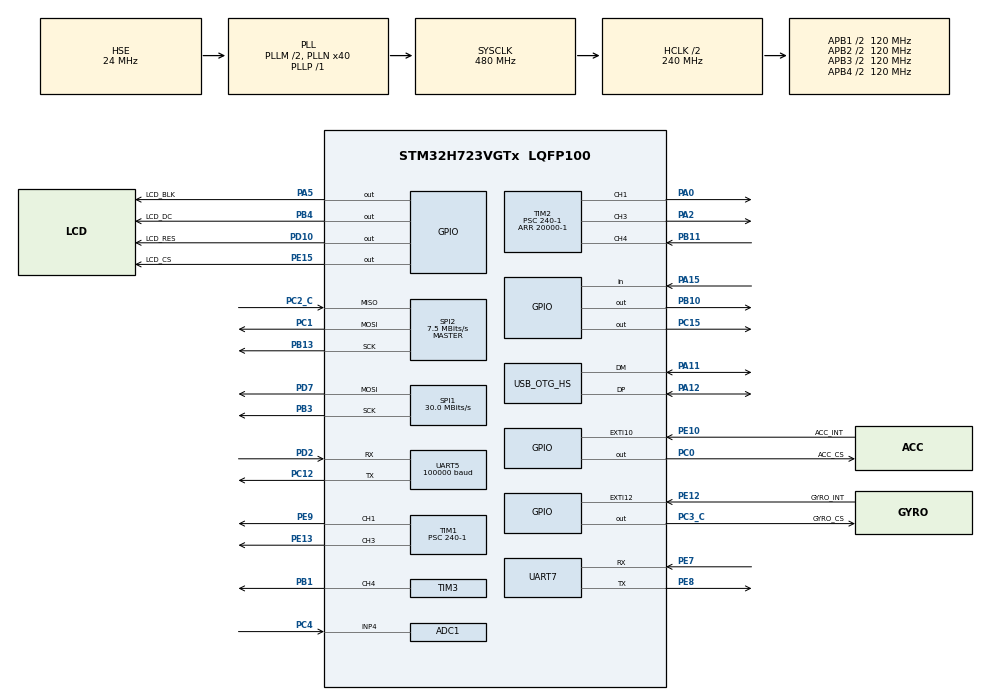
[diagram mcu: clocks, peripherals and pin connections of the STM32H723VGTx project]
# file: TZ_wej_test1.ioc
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ADC1.Channel-0\#ChannelRegularConversion=ADC_CHANNEL_4
ADC1.Channel-3\#ChannelRegularConversion=ADC_CHANNEL_4
ADC1.ClockPrescaler=ADC_CLOCK_ASYNC_DIV64
ADC1.ContinuousConvMode=ENABLE
ADC1.NbrOfConversion=2
ADC1.NbrOfConversionFlag=1
ADC1.OffsetNumber-0\#ChannelRegularConversion=ADC_OFFSET_NONE
ADC1.OffsetNumber-3\#ChannelRegularConversion=ADC_OFFSET_NONE
ADC1.OffsetSignedSaturation-0\#ChannelRegularConversion=DISABLE
ADC1.OffsetSignedSaturation-3\#ChannelRegularConversion=DISABLE
ADC1.Rank-0\#ChannelRegularConversion=1
ADC1.Rank-3\#ChannelRegularConversion=2
ADC1.SamplingTime-0\#ChannelRegularConversion=ADC_SAMPLETIME_32CYCLES_5
ADC1.SamplingTime-3\#ChannelRegularConversion=ADC_SAMPLETIME_1CYCLE_5
ADC1.master=1
CORTEX_M7.default_mode_Activation=1
Dma.Request0=SPI2_RX
Dma.Request1=SPI2_TX
Dma.Request2=UART5_RX
Dma.Request3=UART7_RX
Dma.SPI2_RX.0.Direction=DMA_PERIPH_TO_MEMORY
Dma.SPI2_RX.0.EventEnable=DISABLE
Dma.SPI2_RX.0.FIFOMode=DMA_FIFOMODE_DISABLE
Dma.SPI2_RX.0.Instance=DMA1_Stream0
Dma.SPI2_RX.0.MemDataAlignment=DMA_MDATAALIGN_BYTE
Dma.SPI2_RX.0.MemInc=DMA_MINC_ENABLE
Dma.SPI2_RX.0.Mode=DMA_NORMAL
Dma.SPI2_RX.0.PeriphDataAlignment=DMA_PDATAALIGN_BYTE
Dma.SPI2_RX.0.PeriphInc=DMA_PINC_DISABLE
Dma.SPI2_RX.0.Polarity=HAL_DMAMUX_REQ_GEN_RISING
Dma.SPI2_RX.0.Priority=DMA_PRIORITY_VERY_HIGH
Dma.SPI2_RX.0.RequestNumber=1
Dma.SPI2_RX.0.SignalID=NONE
Dma.SPI2_RX.0.SyncEnable=DISABLE
Dma.SPI2_RX.0.SyncPolarity=HAL_DMAMUX_SYNC_NO_EVENT
Dma.SPI2_RX.0.SyncRequestNumber=1
Dma.SPI2_RX.0.SyncSignalID=NONE
Dma.SPI2_TX.1.Direction=DMA_MEMORY_TO_PERIPH
Dma.SPI2_TX.1.EventEnable=DISABLE
Dma.SPI2_TX.1.FIFOMode=DMA_FIFOMODE_DISABLE
Dma.SPI2_TX.1.Instance=DMA1_Stream1
Dma.SPI2_TX.1.MemDataAlignment=DMA_MDATAALIGN_BYTE
Dma.SPI2_TX.1.MemInc=DMA_MINC_ENABLE
Dma.SPI2_TX.1.Mode=DMA_NORMAL
Dma.SPI2_TX.1.PeriphDataAlignment=DMA_PDATAALIGN_BYTE
Dma.SPI2_TX.1.PeriphInc=DMA_PINC_DISABLE
Dma.SPI2_TX.1.Polarity=HAL_DMAMUX_REQ_GEN_RISING
Dma.SPI2_TX.1.Priority=DMA_PRIORITY_HIGH
Dma.SPI2_TX.1.RequestNumber=1
Dma.SPI2_TX.1.SignalID=NONE
Dma.SPI2_TX.1.SyncEnable=DISABLE
Dma.SPI2_TX.1.SyncPolarity=HAL_DMAMUX_SYNC_NO_EVENT
Dma.SPI2_TX.1.SyncRequestNumber=1
Dma.SPI2_TX.1.SyncSignalID=NONE
Dma.UART5_RX.2.Direction=DMA_PERIPH_TO_MEMORY
Dma.UART5_RX.2.EventEnable=DISABLE
Dma.UART5_RX.2.FIFOMode=DMA_FIFOMODE_DISABLE
Dma.UART5_RX.2.Instance=DMA1_Stream2
Dma.UART5_RX.2.MemDataAlignment=DMA_MDATAALIGN_BYTE
Dma.UART5_RX.2.MemInc=DMA_MINC_ENABLE
Dma.UART5_RX.2.Mode=DMA_CIRCULAR
Dma.UART5_RX.2.PeriphDataAlignment=DMA_PDATAALIGN_BYTE
Dma.UART5_RX.2.PeriphInc=DMA_PINC_DISABLE
Dma.UART5_RX.2.Polarity=HAL_DMAMUX_REQ_GEN_RISING
Dma.UART5_RX.2.Priority=DMA_PRIORITY_LOW
Dma.UART5_RX.2.RequestNumber=1
Dma.UART5_RX.2.SignalID=NONE
Dma.UART5_RX.2.SyncEnable=DISABLE
Dma.UART5_RX.2.SyncPolarity=HAL_DMAMUX_SYNC_NO_EVENT
Dma.UART5_RX.2.SyncRequestNumber=1
Dma.UART5_RX.2.SyncSignalID=NONE
Dma.UART7_RX.3.Direction=DMA_PERIPH_TO_MEMORY
Dma.UART7_RX.3.EventEnable=DISABLE
Dma.UART7_RX.3.FIFOMode=DMA_FIFOMODE_DISABLE
Dma.UART7_RX.3.Instance=DMA1_Stream3
Dma.UART7_RX.3.MemDataAlignment=DMA_MDATAALIGN_BYTE
Dma.UART7_RX.3.MemInc=DMA_MINC_ENABLE
Dma.UART7_RX.3.Mode=DMA_NORMAL
Dma.UART7_RX.3.PeriphDataAlignment=DMA_PDATAALIGN_BYTE
Dma.UART7_RX.3.PeriphInc=DMA_PINC_DISABLE
Dma.UART7_RX.3.Polarity=HAL_DMAMUX_REQ_GEN_RISING
Dma.UART7_RX.3.Priority=DMA_PRIORITY_LOW
Dma.UART7_RX.3.RequestNumber=1
Dma.UART7_RX.3.SignalID=NONE
Dma.UART7_RX.3.SyncEnable=DISABLE
Dma.UART7_RX.3.SyncPolarity=HAL_DMAMUX_SYNC_NO_EVENT
Dma.UART7_RX.3.SyncRequestNumber=1
Dma.UART7_RX.3.SyncSignalID=NONE
Mcu.Family=STM32H7
Mcu.Name=STM32H723VGTx
Mcu.Package=LQFP100
NVIC.DMA1_Stream0_IRQn=true\:1\:0\:true\:false\:true\:false\:true\:true
NVIC.DMA1_Stream1_IRQn=true\:2\:0\:true\:false\:true\:false\:true\:true
NVIC.DMA1_Stream2_IRQn=true\:0\:0\:false\:false\:true\:false\:true\:true
NVIC.DMA1_Stream3_IRQn=true\:0\:0\:false\:false\:true\:false\:true\:true
NVIC.OTG_HS_IRQn=true\:0\:0\:false\:false\:true\:true\:true\:true
NVIC.PriorityGroup=NVIC_PRIORITYGROUP_4
NVIC.SPI2_IRQn=true\:5\:0\:true\:false\:true\:false\:true\:true
NVIC.TIM1_BRK_IRQn=true\:0\:0\:false\:false\:true\:true\:true\:true
NVIC.TIM1_CC_IRQn=true\:0\:0\:false\:false\:true\:true\:true\:true
NVIC.TIM1_TRG_COM_IRQn=true\:0\:0\:false\:false\:true\:true\:true\:true
NVIC.TIM1_UP_IRQn=true\:0\:0\:false\:false\:true\:true\:true\:true
NVIC.TIM2_IRQn=true\:0\:0\:false\:false\:true\:true\:true\:true
NVIC.TIM4_IRQn=true\:0\:0\:false\:false\:true\:true\:true\:true
NVIC.UART5_IRQn=true\:0\:0\:false\:false\:true\:true\:true\:true
NVIC.UART7_IRQn=true\:0\:0\:false\:false\:true\:true\:true\:true
PA0.Signal=S_TIM2_CH1_ETR
PA11.Mode=Device_Only_FS
PA11.Signal=USB_OTG_HS_DM
PA12.Mode=Device_Only_FS
PA12.Signal=USB_OTG_HS_DP
PA15(JTDI).GPIO_PuPd=GPIO_PULLUP
PA15(JTDI).Signal=GPIO_Input
PA2.Signal=S_TIM2_CH3
PA5.GPIO_Label=LCD_BLK
PA5.GPIO_Speed=GPIO_SPEED_FREQ_VERY_HIGH
PA5.Signal=GPIO_Output
PB1.Signal=S_TIM3_CH4
PB10.Signal=GPIO_Output
PB11.Signal=S_TIM2_CH4
PB13.GPIO_Speed=GPIO_SPEED_FREQ_VERY_HIGH
PB13.Mode=Full_Duplex_Master
PB13.Signal=SPI2_SCK
PB3(JTDO/TRACESWO).Mode=TX_Only_Simplex_Unidirect_Master
PB3(JTDO/TRACESWO).Signal=SPI1_SCK
PB4(NJTRST).GPIO_Label=LCD_DC
PB4(NJTRST).GPIO_Speed=GPIO_SPEED_FREQ_VERY_HIGH
PB4(NJTRST).Signal=GPIO_Output
PC0.GPIO_Label=ACC_CS
PC0.GPIO_Speed=GPIO_SPEED_FREQ_VERY_HIGH
PC0.Signal=GPIO_Output
PC1.GPIO_Speed=GPIO_SPEED_FREQ_VERY_HIGH
PC1.Mode=Full_Duplex_Master
PC1.Signal=SPI2_MOSI
PC12.Mode=Asynchronous
PC12.Signal=UART5_TX
PC15-OSC32_OUT.PinState=GPIO_PIN_SET
PC15-OSC32_OUT.Signal=GPIO_Output
PC2_C.GPIO_Speed=GPIO_SPEED_FREQ_VERY_HIGH
PC2_C.Mode=Full_Duplex_Master
PC2_C.Signal=SPI2_MISO
PC3_C.GPIO_Label=GYRO_CS
PC3_C.GPIO_Speed=GPIO_SPEED_FREQ_VERY_HIGH
PC3_C.Signal=GPIO_Output
PC4.Signal=ADCx_INP4
PD10.GPIO_Label=LCD_RES
PD10.GPIO_Speed=GPIO_SPEED_FREQ_VERY_HIGH
PD10.Signal=GPIO_Output
PD2.Mode=Asynchronous
PD2.Signal=UART5_RX
PD7.Mode=TX_Only_Simplex_Unidirect_Master
PD7.Signal=SPI1_MOSI
PE10.GPIO_Label=ACC_INT
PE10.Signal=GPXTI10
PE12.GPIO_Label=GYRO_INT
PE12.Signal=GPXTI12
PE13.Signal=S_TIM1_CH3
PE15.GPIO_Label=LCD_CS
PE15.GPIO_Speed=GPIO_SPEED_FREQ_VERY_HIGH
PE15.Signal=GPIO_Output
PE7.Mode=Asynchronous
PE7.Signal=UART7_RX
PE8.Mode=Asynchronous
PE8.Signal=UART7_TX
PE9.Signal=S_TIM1_CH1
PH0-OSC_IN.Mode=HSE-External-Oscillator
PH0-OSC_IN.Signal=RCC_OSC_IN
PH1-OSC_OUT.Mode=HSE-External-Oscillator
PH1-OSC_OUT.Signal=RCC_OSC_OUT
ProjectManager.HeapSize=0x200
ProjectManager.StackSize=0x400
ProjectManager.TargetToolchain=CMake
RCC.ADCFreq_Value=96000000
RCC.APB1Freq_Value=120000000
RCC.APB2Freq_Value=120000000
RCC.APB3Freq_Value=120000000
RCC.APB4Freq_Value=120000000
RCC.CortexFreq_Value=480000000
RCC.D1PPRE=RCC_APB3_DIV2
RCC.D2PPRE1=RCC_APB1_DIV2
RCC.D2PPRE2=RCC_APB2_DIV2
RCC.D3PPRE=RCC_APB4_DIV2
RCC.DIVM1=2
RCC.DIVM2=2
RCC.DIVN1=40
RCC.DIVN2=16
RCC.DIVP1=1
RCC.HCLKFreq_Value=240000000
RCC.HPRE=RCC_HCLK_DIV2
RCC.HSE_VALUE=24000000
RCC.PLLFRACN=0
RCC.PLLSourceVirtual=RCC_PLLSOURCE_HSE
RCC.SYSCLKFreq_VALUE=480000000
RCC.SYSCLKSource=RCC_SYSCLKSOURCE_PLLCLK
RCC.USBCLockSelection=RCC_USBCLKSOURCE_HSI48
RCC.USBFreq_Value=48000000
SH.ADCx_INP4.0=ADC1_INP4,IN4-Single-Ended
SH.S_TIM1_CH1.0=TIM1_CH1,PWM Generation1 CH1
SH.S_TIM1_CH3.0=TIM1_CH3,PWM Generation3 CH3
SH.S_TIM2_CH1_ETR.0=TIM2_CH1,PWM Generation1 CH1
SH.S_TIM2_CH3.0=TIM2_CH3,PWM Generation3 CH3
SH.S_TIM2_CH4.0=TIM2_CH4,Input_Capture4_from_TI4
SH.S_TIM3_CH4.0=TIM3_CH4,PWM Generation4 CH4
SPI1.BaudRatePrescaler=SPI_BAUDRATEPRESCALER_8
SPI1.CLKPolarity=SPI_POLARITY_HIGH
SPI1.CalculateBaudRate=30.0 MBits/s
SPI1.DataSize=SPI_DATASIZE_8BIT
SPI1.Direction=SPI_DIRECTION_2LINES_TXONLY
SPI1.Mode=SPI_MODE_MASTER
SPI1.VirtualType=VM_MASTER
SPI2.BaudRatePrescaler=SPI_BAUDRATEPRESCALER_32
SPI2.CLKPhase=SPI_PHASE_2EDGE
SPI2.CLKPolarity=SPI_POLARITY_HIGH
SPI2.CalculateBaudRate=7.5 MBits/s
SPI2.DataSize=SPI_DATASIZE_8BIT
SPI2.Direction=SPI_DIRECTION_2LINES
SPI2.Mode=SPI_MODE_MASTER
SPI2.VirtualType=VM_MASTER
TIM1.Channel-PWM\ Generation1\ CH1=TIM_CHANNEL_1
TIM1.Channel-PWM\ Generation3\ CH3=TIM_CHANNEL_3
TIM1.Period=20000-1
TIM1.Prescaler=240-1
TIM1.Pulse-PWM\ Generation1\ CH1=1500
TIM1.Pulse-PWM\ Generation3\ CH3=1500
TIM2.Channel-Input_Capture4_from_TI4=TIM_CHANNEL_4
TIM2.Channel-PWM\ Generation1\ CH1=TIM_CHANNEL_1
TIM2.Channel-PWM\ Generation3\ CH3=TIM_CHANNEL_3
TIM2.Period=20000-1
TIM2.Prescaler=240-1
TIM2.Pulse-PWM\ Generation1\ CH1=1000
TIM2.Pulse-PWM\ Generation3\ CH3=1000
TIM3.Channel-PWM\ Generation4\ CH4=TIM_CHANNEL_4
TIM3.Period=10000-1
TIM3.Prescaler=24-1
TIM4.Period=2000-1
TIM4.Prescaler=240-1
UART5.BaudRate=100000
UART5.Mode=MODE_RX
UART5.Parity=PARITY_EVEN
UART5.StopBits=UART_STOPBITS_2
UART5.WordLength=WORDLENGTH_9B
USB_DEVICE.CLASS_NAME_HS=CDC
USB_DEVICE.VirtualMode=Cdc
USB_DEVICE.VirtualModeHS=Cdc_HS
USB_OTG_HS.VirtualMode-Device_Only_FS=Device_Only_FS
VP_MEMORYMAP_VS_MEMORYMAP.Mode=CurAppReg
VP_TIM2_VS_ClockSourceINT.Mode=Internal
VP_TIM4_VS_ClockSourceINT.Mode=Internal
VP_USB_DEVICE_VS_USB_DEVICE_CDC_HS.Mode=CDC_HS
board=custom

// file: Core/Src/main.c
/* USER CODE BEGIN Header */
/**
  ******************************************************************************
  * @file           : main.c
  * @brief          : Main program body
  ******************************************************************************
  * @attention
  *
  * Copyright (c) 2026 STMicroelectronics.
  * All rights reserved.
  *
  * This software is licensed under terms that can be found in the LICENSE file
  * in the root directory of this software component.
  * If no LICENSE file comes with this software, it is provided AS-IS.
  *
  ******************************************************************************
  */
/* USER CODE END Header */
#include "main.h"
#include "adc.h"
#include "dma.h"
#include "memorymap.h"
#include "spi.h"
#include "tim.h"
#include "usart.h"
#include "usb_device.h"
#include "gpio.h"

/* USER CODE BEGIN Includes */
#include "attitude.h"
#include "imu_heat.h"
#include "lcd.h"
#include "tvc_pid.h"
#include "altitude_hold.h"
#include "ultrasonic.h"
#include "usb_printf.h"
#include "vbat_adc.h"
#include "ano_protocol.h"
#include "rm3100.h"
#include <stdio.h>
/* USER CODE END Includes */

/* USER CODE BEGIN PD */
#define DISPLAY_REFRESH_PERIOD_MS   50U   /* LCD 屏幕刷新周期：50ms = 20Hz */
#define STATUS_PRINT_PERIOD_MS     10U   /* ANO 协议发送周期：10ms = 100Hz */
#define DEBUG_PRINT_PERIOD_MS     200U   /* Yaw 调试打印周期：200ms = 5Hz */
#define YAW_DEBUG_TEXT_ONLY         0U    /* 1=只输出 Yaw 文本调试，暂停 ANO 二进制遥测 */
#define ANO_BINARY_TELEMETRY_ENABLED (!YAW_DEBUG_TEXT_ONLY)
/* USER CODE END PD */

void SystemClock_Config(void);
static void MPU_Config(void);
/* USER CODE BEGIN PFP */
static void InitApplicationModules(void);
static void RefreshRuntimeDisplay(void);
static void PrintRuntimeStatus(void);
/* USER CODE END PFP */

/* USER CODE BEGIN 0 */
#include "esc_pwm.h"

#define SBUS_FRAME_SIZE 25

// H7芯片：DMA无法访问DTCMRAM，并且必须做32字节缓存行对齐
#if defined ( __ICCARM__ )
#pragma location=".dma_buffer"
#else
__attribute__((section(".dma_buffer")))
#endif
ALIGN_32BYTES(uint8_t sbus_rx_buf[64]);

__attribute__((section(".dma_buffer")))
ALIGN_32BYTES(uint8_t rm3100_rx_buf[256]);

uint16_t rc_channels[16];
uint8_t sbus_connected = 0; // 0=未连接或断开, 1=连接正常
uint16_t last_rx_size = 0;  // 用于调试接收到的字节数
volatile uint8_t is_crashed = 0;     // 姿态异常坠机保护状态（ISR读取，需volatile）
volatile uint8_t is_armed = 0;       // 系统解锁状态（ISR读取，需volatile）
uint32_t button_press_ms = 0; // 按键按下时间戳

uint32_t g_esc_arm_start_ms = 0; // 记录电调上电启动时间

void SBUS_Parse(uint8_t *buf, uint16_t *channels)
{
    if (buf[0] == 0x0F && buf[24] == 0x00)
    {
        channels[0]  = ((buf[1]       | buf[2] << 8)                   & 0x07FF);
        channels[1]  = ((buf[2] >> 3  | buf[3] << 5)                   & 0x07FF);
        channels[2]  = ((buf[3] >> 6  | buf[4] << 2  | buf[5] << 10)  & 0x07FF);
        channels[3]  = ((buf[5] >> 1  | buf[6] << 7)                   & 0x07FF);
        channels[4]  = ((buf[6] >> 4  | buf[7] << 4)                   & 0x07FF);
        channels[5]  = ((buf[7] >> 7  | buf[8] << 1  | buf[9] << 9)   & 0x07FF);
        channels[6]  = ((buf[9] >> 2  | buf[10] << 6)                  & 0x07FF);
        channels[7]  = ((buf[10] >> 5 | buf[11] << 3)                  & 0x07FF);
        channels[8]  = ((buf[12]      | buf[13] << 8)                  & 0x07FF);
        channels[9]  = ((buf[13] >> 3 | buf[14] << 5)                  & 0x07FF);
        channels[10] = ((buf[14] >> 6 | buf[15] << 2 | buf[16] << 10) & 0x07FF);
        channels[11] = ((buf[16] >> 1 | buf[17] << 7)                  & 0x07FF);
        channels[12] = ((buf[17] >> 4 | buf[18] << 4)                  & 0x07FF);
        channels[13] = ((buf[18] >> 7 | buf[19] << 1 | buf[20] << 9)  & 0x07FF);
        channels[14] = ((buf[20] >> 2 | buf[21] << 6)                  & 0x07FF);
        channels[15] = ((buf[21] >> 5 | buf[22] << 3)                  & 0x07FF);

        // 检查标志位 (buf[23]) 是否发生失控保护 (Failsafe) 或者是掉线 (Frame lost)
        if ((buf[23] & 0x08) || (buf[23] & 0x04)) {
            sbus_connected = 0; // 失控保护触发或者侦丢失
        } else {
            sbus_connected = 1; // 正常
        }
    }
}

void HAL_UARTEx_RxEventCallback(UART_HandleTypeDef *huart, uint16_t Size)
{
    if (huart->Instance == UART5)
    {
        // 关键：在读DMA内存前，先让CPU把Cache里的相关部分给无效化，否则读出来的全是老数据
        SCB_InvalidateDCache_by_Addr((uint32_t *)sbus_rx_buf, sizeof(sbus_rx_buf));

        last_rx_size = Size; // 记录最近一次接到的包长度
        if (Size >= SBUS_FRAME_SIZE)
        {
            // 简单查找帧头帧尾
            for (int i = 0; i <= Size - SBUS_FRAME_SIZE; i++)
            {
                if (sbus_rx_buf[i] == 0x0F && sbus_rx_buf[i + 24] == 0x00)
                {
                    SBUS_Parse(&sbus_rx_buf[i], rc_channels);
                    break;
                }
            }
        }
        // 重新开启空闲中断DMA接收
        HAL_UARTEx_ReceiveToIdle_DMA(&huart5, sbus_rx_buf, sizeof(sbus_rx_buf));
    }
    else if (huart->Instance == UART7)
    {
        /* H7 + DMA: 先无效化 Cache，避免 RM3100 解析到旧的 UART7 DMA 数据 */
        SCB_InvalidateDCache_by_Addr((uint32_t *)rm3100_rx_buf, sizeof(rm3100_rx_buf));
        RM3100_ProcessBuffer(rm3100_rx_buf, Size);
        HAL_UARTEx_ReceiveToIdle_DMA(&huart7, rm3100_rx_buf, sizeof(rm3100_rx_buf));
    }
}

// 添加串口错误回调函数（非常重要：防止上电瞬间接收机的杂波导致串口溢出死锁）
void HAL_UART_ErrorCallback(UART_HandleTypeDef *huart)
{
    if (huart->Instance == UART5)
    {
        HAL_UARTEx_ReceiveToIdle_DMA(&huart5, sbus_rx_buf, sizeof(sbus_rx_buf));
    }
    else if (huart->Instance == UART7)
    {
        HAL_UARTEx_ReceiveToIdle_DMA(&huart7, rm3100_rx_buf, sizeof(rm3100_rx_buf));
    }
}
/* USER CODE END 0 */

int main(void)
{

  /* MPU Configuration--------------------------------------------------------*/
  MPU_Config();

  /* MCU Configuration--------------------------------------------------------*/

  /* Reset of all peripherals, Initializes the Flash interface and the Systick. */
  HAL_Init();

  /* Configure the system clock */
  SystemClock_Config();

  /* Initialize all configured peripherals */
  MX_GPIO_Init();
  MX_DMA_Init();
  MX_USB_DEVICE_Init();
  MX_SPI1_Init();
  MX_SPI2_Init();
  MX_TIM3_Init();
  MX_TIM1_Init();
  MX_ADC1_Init();
  MX_TIM2_Init();
  MX_TIM4_Init();
  MX_UART5_Init();
  MX_UART7_Init();
  /* USER CODE BEGIN 2 */
  /* 完成所有 BSP 模块初始化（USB / LCD / IMU / TVC / VBAT / ESC）
   * 此函数返回后，ESC 电调还在 3s 解锁中，按键暂时无效 */
  InitApplicationModules();

  // UART5 SBUS + UART7 RM3100: DMA+Idle 启动
  HAL_UARTEx_ReceiveToIdle_DMA(&huart5, sbus_rx_buf, sizeof(sbus_rx_buf));
  HAL_UARTEx_ReceiveToIdle_DMA(&huart7, rm3100_rx_buf, sizeof(rm3100_rx_buf));
  /* USER CODE END 2 */

  /* Infinite loop */
  /* USER CODE BEGIN WHILE */
  uint32_t last_display_ms = HAL_GetTick();   /* LCD 刷新时间戳 */
  uint32_t last_status_ms  = HAL_GetTick();   /* ANO 发送时间戳 */
  uint32_t last_debug_ms   = HAL_GetTick();   /* USB Yaw 调试打印时间戳 */
  uint32_t last_sonar_ms   = HAL_GetTick();   /* 超声波触发时间戳 */

  while (1)
  {
    /* USER CODE END WHILE */

    /* USER CODE BEGIN 3 */

    /* ── ANO 协议响应：仅处理上位机请求回复，不产生 100Hz 主动二进制刷屏 ── */
    ANO_Service_Deferred();

    /* ── 致命低压保护：已切断输出，只做低功耗等待 ── */
    if (VBAT_IsShutdown()) {
      HAL_Delay(100);
      continue;
    }

    /* ── 姿态异常坠机保护（仅解锁后生效，侧倾或俯仰角 > 45度强制断电） ── */
    if (is_armed && Attitude_IsReady() && !is_crashed) {
      attitude_data_t *att = Attitude_GetData();
      if ((att->pitch > 20.0f || att->pitch < -20.0f) ||
          (att->roll > 20.0f || att->roll < -20.0f)) {

        is_crashed = 1; // 触发锁死（除非复位单片机否则不解锁）

        // 强行拉低电调用以停止无刷电机
        ESC_PWM_SetAllPulseUs(1000);
        TVC_SetBaseThrottle(1000);

        // 舵机归中（保持PWM通道运行，只是输出中位值）
        TVC_Center();

        // usb_printf("\r\n[!!!] CRASH DETECTED, ALL POWER OFF [!!!]\r\n");
      }
    }

    /* ── 按键长按 3 秒解锁逻辑 ── */
    if (HAL_GPIO_ReadPin(GPIOA, GPIO_PIN_15) == GPIO_PIN_RESET) {
        if (button_press_ms == 0) {
            button_press_ms = HAL_GetTick(); // 记录起始按下时间
        } else if (!is_armed && (HAL_GetTick() - button_press_ms) >= 3000U) {
            is_armed = 1; // 满3秒后解锁
            TVC_Center();            // 清TVC积分，防止地面积分饱和导致起飞猛偏
            AltHold_ResetIntegral(); // 解锁时清积分，防止积分饱和
            Ultrasonic_Calibrate();  // 以当前距离为地面基准（高度归零）
        }
    } else {
        button_press_ms = 0; // 松开按键清零计时
    }

    /* ── ESC 油门控制：定高模式，CH3 → 目标高度 → PID → 油门 ── */
    if (is_crashed) {
      TVC_SetBaseThrottle(1000);
      ESC_PWM_SetAllPulseUs(1000);
    } else if (is_armed && sbus_connected) {
      /* 遥控器 CH3 杆量 → 目标高度（0~80cm） */
      AltHold_SetTargetFromStick(rc_channels[2]);
      /* 定高 PID 在超声波更新后（下方 100ms 块）触发 */
    } else {
      TVC_SetBaseThrottle(1000);
      ESC_PWM_SetAllPulseUs(1000);
    }

    /* ── 超声波：每 100ms 触发一次测量 + 实时检查超时 ── */
    Ultrasonic_CheckTimeout();
    if ((HAL_GetTick() - last_sonar_ms) >= 100U) {
      last_sonar_ms = HAL_GetTick();
      Ultrasonic_Trigger();
      /* 超声波更新后立即运行定高 PID */
      if (is_armed && !is_crashed && sbus_connected) {
        AltHold_Update(Ultrasonic_GetDistance_cm(), Ultrasonic_IsValid());
      }
    }

    /* ── RM3100 磁力计：模块 20Hz 自动回传，DMA 被动接收 ── */
    RM3100_ParsePending();
    if (RM3100_IsDataValid()) {
      RM3100_Data_t mag_data;
      RM3100_GetData(&mag_data);
      Attitude_SetMagYaw(mag_data.yaw, 1);
      Attitude_SetMagRaw(mag_data.mag_x, mag_data.mag_y, mag_data.mag_z);
      RM3100_ClearDataValid();
    }

    /* ── 20Hz LCD 刷新：姿态 + 电池图标 + 距离 ── */
    if ((HAL_GetTick() - last_display_ms) >= DISPLAY_REFRESH_PERIOD_MS) {
      last_display_ms = HAL_GetTick();
      RefreshRuntimeDisplay();
    }

#if YAW_DEBUG_TEXT_ONLY
    /* ── 5Hz USB 调试打印：RM3100 yaw / 融合 yaw / 陀螺 Z ── */
    if ((HAL_GetTick() - last_debug_ms) >= DEBUG_PRINT_PERIOD_MS) {
      last_debug_ms = HAL_GetTick();
      PrintRuntimeStatus();
    }
#else
    (void)last_debug_ms;
#endif

#if ANO_BINARY_TELEMETRY_ENABLED
    /* ── 100Hz：匿名科创 V7 上位机协议 ── */
    if ((HAL_GetTick() - last_status_ms) >= STATUS_PRINT_PERIOD_MS) {
      last_status_ms = HAL_GetTick();
      if (Attitude_IsReady()) {
          attitude_data_t *dbg = Attitude_GetData();
          ANO_Send_AttitudeAndSenser(dbg->pitch, dbg->roll, dbg->yaw, 1,
                                     dbg->accel, dbg->gyro, dbg->mag_raw);
      }
    }
#else
    (void)last_status_ms;
#endif
  }
  /* USER CODE END 3 */
}

void SystemClock_Config(void)
{
  RCC_OscInitTypeDef RCC_OscInitStruct = {0};
  RCC_ClkInitTypeDef RCC_ClkInitStruct = {0};

  /** Supply configuration update enable
  */
  HAL_PWREx_ConfigSupply(PWR_LDO_SUPPLY);

  /** Configure the main internal regulator output voltage
  */
  __HAL_PWR_VOLTAGESCALING_CONFIG(PWR_REGULATOR_VOLTAGE_SCALE0);

  while(!__HAL_PWR_GET_FLAG(PWR_FLAG_VOSRDY)) {}

  /** Initializes the RCC Oscillators according to the specified parameters
  * in the RCC_OscInitTypeDef structure.
  */
  RCC_OscInitStruct.OscillatorType = RCC_OSCILLATORTYPE_HSI48|RCC_OSCILLATORTYPE_HSE;
  RCC_OscInitStruct.HSEState = RCC_HSE_ON;
  RCC_OscInitStruct.HSI48State = RCC_HSI48_ON;
  RCC_OscInitStruct.PLL.PLLState = RCC_PLL_ON;
  RCC_OscInitStruct.PLL.PLLSource = RCC_PLLSOURCE_HSE;
  RCC_OscInitStruct.PLL.PLLM = 2;
  RCC_OscInitStruct.PLL.PLLN = 40;
  RCC_OscInitStruct.PLL.PLLP = 1;
  RCC_OscInitStruct.PLL.PLLQ = 2;
  RCC_OscInitStruct.PLL.PLLR = 2;
  RCC_OscInitStruct.PLL.PLLRGE = RCC_PLL1VCIRANGE_3;
  RCC_OscInitStruct.PLL.PLLVCOSEL = RCC_PLL1VCOWIDE;
  RCC_OscInitStruct.PLL.PLLFRACN = 0;
  if (HAL_RCC_OscConfig(&RCC_OscInitStruct) != HAL_OK)
  {
    Error_Handler();
  }

  /** Initializes the CPU, AHB and APB buses clocks
  */
  RCC_ClkInitStruct.ClockType = RCC_CLOCKTYPE_HCLK|RCC_CLOCKTYPE_SYSCLK
                              |RCC_CLOCKTYPE_PCLK1|RCC_CLOCKTYPE_PCLK2
                              |RCC_CLOCKTYPE_D3PCLK1|RCC_CLOCKTYPE_D1PCLK1;
  RCC_ClkInitStruct.SYSCLKSource = RCC_SYSCLKSOURCE_PLLCLK;
  RCC_ClkInitStruct.SYSCLKDivider = RCC_SYSCLK_DIV1;
  RCC_ClkInitStruct.AHBCLKDivider = RCC_HCLK_DIV2;
  RCC_ClkInitStruct.APB3CLKDivider = RCC_APB3_DIV2;
  RCC_ClkInitStruct.APB1CLKDivider = RCC_APB1_DIV2;
  RCC_ClkInitStruct.APB2CLKDivider = RCC_APB2_DIV2;
  RCC_ClkInitStruct.APB4CLKDivider = RCC_APB4_DIV2;

  if (HAL_RCC_ClockConfig(&RCC_ClkInitStruct, FLASH_LATENCY_3) != HAL_OK)
  {
    Error_Handler();
  }
}

/* USER CODE BEGIN 4 */

/**
 * @brief  一次性初始化所有 BSP 模块
 *         调用顺序：USB → LCD → IMU → TVC → VBAT → ESC
 *         ESC 上电后需要 3 秒解锁，记录启动时间戳。
 */
static void InitApplicationModules(void)
{
  USB_Printf_Init();
  usb_printf("\r\n===== TZ_wej_test1 Boot =====\r\n");

  usb_printf("[INIT] LCD...\r\n");
  LCD_Init();
  LCD_Fill(0, 0, LCD_W, LCD_H, WHITE);
  usb_printf("[INIT] LCD OK\r\n");

  usb_printf("[INIT] Attitude...\r\n");
  Attitude_Init();
  usb_printf("[INIT] Attitude OK\r\n");

  IMU_Heat_Init();
  usb_printf("[INIT] IMU Heat OK\r\n");

  TVC_Init();
  TVC_Center();
  usb_printf("[INIT] TVC OK\r\n");

  VBAT_Init();
  usb_printf("[INIT] VBAT OK (%.2fV)\r\n", VBAT_GetVoltage());

  ESC_PWM_Init();
  ESC_PWM_SetAllPulseUs(1000);
  usb_printf("[INIT] ESC PWM OK\r\n");

  Ultrasonic_Init();
  usb_printf("[INIT] Ultrasonic OK\r\n");

  AltHold_Init();
  usb_printf("[INIT] AltHold OK\r\n");

  ANO_Init();
  usb_printf("[INIT] ANO Protocol OK\r\n");

  usb_printf("[INIT] RM3100 Magnetometer...\r\n");
  RM3100_Init();
  /* RM3100_Init prints its own status — failure is non-fatal */

  /* 启动 500Hz 姿态控制定时器 */
  HAL_TIM_Base_Start_IT(&htim4);
  usb_printf("[INIT] TIM4 500Hz started\r\n");

  usb_printf("[INIT] All modules ready.\r\n");
}

/**
 * @brief  20Hz LCD 运行时刷新：姿态 + 电池图标
 */
static void RefreshRuntimeDisplay(void)
{
  if (VBAT_GetState() == VBAT_STATE_CRITICAL) {
    VBAT_ShowCriticalWarning();
    return;
  }

  /* 防触摸静电干扰：每次刷新前重发 Display ON + Inversion ON，
     若 LCD 控制器被 ESD 打入 Sleep/Off 状态可立即恢复 */
  LCD_WR_REG(0x11);  /* Sleep Out  */
  LCD_WR_REG(0x21);  /* Inversion ON */
  LCD_WR_REG(0x29);  /* Display ON */

  Attitude_Display();
  VBAT_Display();
  Ultrasonic_Display();

  /* 在目标温度下一行(y=225)显示解锁状态 */
  LCD_Fill(10, 225, 230, 245, WHITE);
  if (is_crashed) {
    LCD_ShowString(10, 225, (const uint8_t *)"!! CRASH LOCKED !!", RED, WHITE, 16, 0);
  } else if (!is_armed) {
    uint32_t held = 0;
    if (button_press_ms != 0) {
      held = (HAL_GetTick() - button_press_ms) / 1000U;
      if (held > 3) held = 3;
    }
    char arm_buf[28];
    snprintf(arm_buf, sizeof(arm_buf), "Hold KEY1 3s: %lus/3s", held);
    LCD_ShowString(10, 225, (const uint8_t *)arm_buf, RED, WHITE, 16, 0);
  } else {
    if (sbus_connected) {
      /* 定高模式：显示目标高度 + 实际高度 */
      char alt_buf[32];
      snprintf(alt_buf, sizeof(alt_buf), "T:%2.0f A:%4.1f %4u",
               AltHold_GetTarget_cm(),
               Ultrasonic_IsValid() ? Ultrasonic_GetDistance_cm() : 0.0f,
               TVC_GetBaseThrottle());
      LCD_Fill(10, 225, 230, 245, WHITE);
      LCD_ShowString(10, 225, (const uint8_t *)alt_buf, GREEN, WHITE, 16, 0);
    } else {
      LCD_ShowString(10, 225, (const uint8_t *)"ARMED  SBUS:LOST", RED, WHITE, 16, 0);
    }
  }
}

/**
 * @brief  5Hz USB Yaw 调试打印：RM3100 yaw、融合 yaw、陀螺 Z
 */
static void __attribute__((unused)) PrintRuntimeStatus(void)
{
  if (!Attitude_IsReady()) {
    return;
  }

  attitude_data_t *att = Attitude_GetData();
  float gyro_z_dps = att->gyro[2] * 57.295779513f;
  float yaw_err = Attitude_WrapYaw180(att->mag_yaw - att->yaw);

  usb_printf("[YAW] mag:%7.2f fused:%7.2f err:%+7.2f gz:%+8.2f dps mv:%u\r\n",
             att->mag_yaw, att->yaw, yaw_err, gyro_z_dps, att->mag_valid);
}

/**
 * @brief TIM4 中断回调 — 500Hz 姿态控制环
 *
 * 每 2ms 触发一次：
 *   1. Attitude_Update()   — 读 BMI088、Mahony 姿态解算
 *   2. IMU_Heat_Update()   — PID 恒温控制（根据当前芯片温度）
 *   3. TVC_Update()        — 推力矢量 PID，输出舵机脉宽
 *
 * 安全守卫：低压保护或 IMU 未就绪时直接跳过，不操作任何执行机构。
 */
void HAL_TIM_PeriodElapsedCallback(TIM_HandleTypeDef *htim)
{
  if (htim->Instance == TIM4)
  {
    if (VBAT_IsShutdown() || !Attitude_IsReady()) {
      return;
    }

    Attitude_Update();

    attitude_data_t *att = Attitude_GetData();
    IMU_Heat_Update(att->temp);

    /* 安全门限：
     *   舵机（pitch/roll）：IMU 就绪且未坠机时一直工作，
     *     这样上电后无需长按 3 秒也能手持观察舵机修正方向。
     *   电机油门：仍然由 is_armed 控制，未解锁时保持 1000us。
     *   电机差速（yaw）：仅在基础油门 >1050us 时叠加，避免地面自转。
     */
    if (!is_crashed) {
      TVC_Update(att->pitch, att->roll, att->gyro[1], att->gyro[0], att->gyro[2], att->dt);
    } else {
      TVC_Center();
    }
  }
}
/* USER CODE END 4 */

 /* MPU Configuration */

void MPU_Config(void)
{
  MPU_Region_InitTypeDef MPU_InitStruct = {0};

  /* Disables the MPU */
  HAL_MPU_Disable();

  /** Initializes and configures the Region and the memory to be protected
  */
  MPU_InitStruct.Enable = MPU_REGION_ENABLE;
  MPU_InitStruct.Number = MPU_REGION_NUMBER0;
  MPU_InitStruct.BaseAddress = 0x0;
  MPU_InitStruct.Size = MPU_REGION_SIZE_4GB;
  MPU_InitStruct.SubRegionDisable = 0x87;
  MPU_InitStruct.TypeExtField = MPU_TEX_LEVEL0;
  MPU_InitStruct.AccessPermission = MPU_REGION_NO_ACCESS;
  MPU_InitStruct.DisableExec = MPU_INSTRUCTION_ACCESS_DISABLE;
  MPU_InitStruct.IsShareable = MPU_ACCESS_SHAREABLE;
  MPU_InitStruct.IsCacheable = MPU_ACCESS_NOT_CACHEABLE;
  MPU_InitStruct.IsBufferable = MPU_ACCESS_NOT_BUFFERABLE;

  HAL_MPU_ConfigRegion(&MPU_InitStruct);
  /* Enables the MPU */
  HAL_MPU_Enable(MPU_PRIVILEGED_DEFAULT);

}

void Error_Handler(void)
{
  __disable_irq();
  while (1)
  {
  }
}
